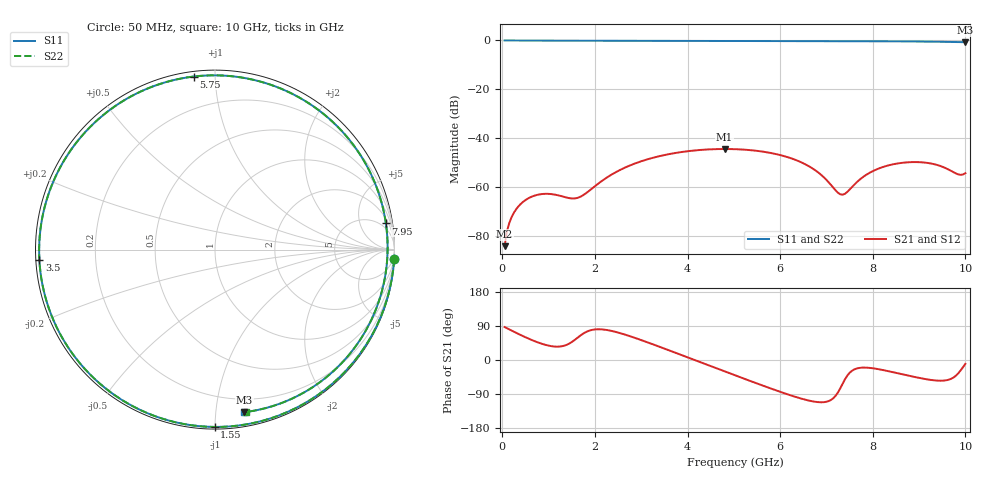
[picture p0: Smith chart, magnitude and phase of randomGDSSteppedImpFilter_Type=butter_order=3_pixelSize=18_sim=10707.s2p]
! freq	dB(S11)	phase(S11)	dB(S12)	phase(S12)
!  dB(S21)	phase(S21)	dB(S22)	phase(S22)
!S-par simulation data
#  GHz  S  DB  R 50
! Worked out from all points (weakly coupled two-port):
!   200 points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, 50 MHz to 10 GHz, reference 50 ohm
!   highest |S21| = -44.44 dB at 4.8 GHz (marker M1); lowest = -84.2 dB at 50 MHz (marker M2)
!   lowest |S11| = -0.7 dB at 10 GHz (marker M3), VSWR 24.11, Z = 5.02 - j59.5 ohm
!   |S11| at or under -10 dB: nowhere
!   |S22| runs from -0.7 to 0.0 dB; largest |S21 - S12| = 0
!   S11 on the Smith chart (normalised r, x): 50 MHz: 0, -36; 1.55 GHz: 0.01, -1.00; 3.5 GHz: 0.01, -0.03; 5.75 GHz: 0.03, +0.88; 7.95 GHz: 3, +12; 10 GHz: 0.10, -1.19
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0.05  -0.00 -3.2  -84.23 86.9  -84.23 86.9  -0.00 -3.2
0.25  -0.02 -15.6  -70.55 74.7  -70.55 74.7  -0.02 -15.6
0.55  -0.04 -33.9  -64.77 57.3  -64.77 57.3  -0.04 -33.9
1.05  -0.08 -63.1  -62.89 36.7  -62.89 36.7  -0.08 -63.1
1.55  -0.10 -90.1  -64.70 51.7  -64.70 51.7  -0.10 -90.1
1.75  -0.11 -100.3  -63.31 69.8  -63.31 69.8  -0.11 -100.3
2.6  -0.14 -139.6  -52.50 68.9  -52.50 68.9  -0.14 -139.6
3.4  -0.17 -172.6  -47.35 34.7  -47.35 34.7  -0.17 -172.6
3.5  -0.17 -176.5  -46.93 30.1  -46.93 30.1  -0.17 -176.5
4.15  -0.20 158.4  -45.05 0.0  -45.05 0.0  -0.20 158.4
4.8  -0.22 133.6  -44.44 -30.1  -44.44 -30.1  -0.22 133.6
5.05  -0.23 124.1  -44.53 -41.5  -44.53 -41.5  -0.23 124.1
5.75  -0.25 97.0  -45.91 -73.1  -45.91 -73.1  -0.25 97.1
6.2  -0.26 79.4  -48.02 -92.2  -48.02 -92.2  -0.26 79.4
6.7  -0.28 59.4  -52.41 -109.1  -52.41 -109.1  -0.28 59.5
7.25  -0.29 37.2  -62.38 -85.3  -62.38 -85.3  -0.29 37.3
7.35  -0.30 33.2  -63.16 -62.3  -63.16 -62.3  -0.30 33.3
7.95  -0.33 8.7  -53.99 -21.0  -53.99 -21.0  -0.32 8.9
8.35  -0.36 -7.7  -51.09 -29.8  -51.09 -29.8  -0.35 -7.5
9.15  -0.47 -41.1  -50.06 -50.6  -50.06 -50.6  -0.46 -40.8
9.85  -0.66 -72.5  -54.87 -34.6  -54.87 -34.6  -0.65 -72.0
10  -0.72 -79.8  -54.35 -10.2  -54.35 -10.2  -0.71 -79.3
